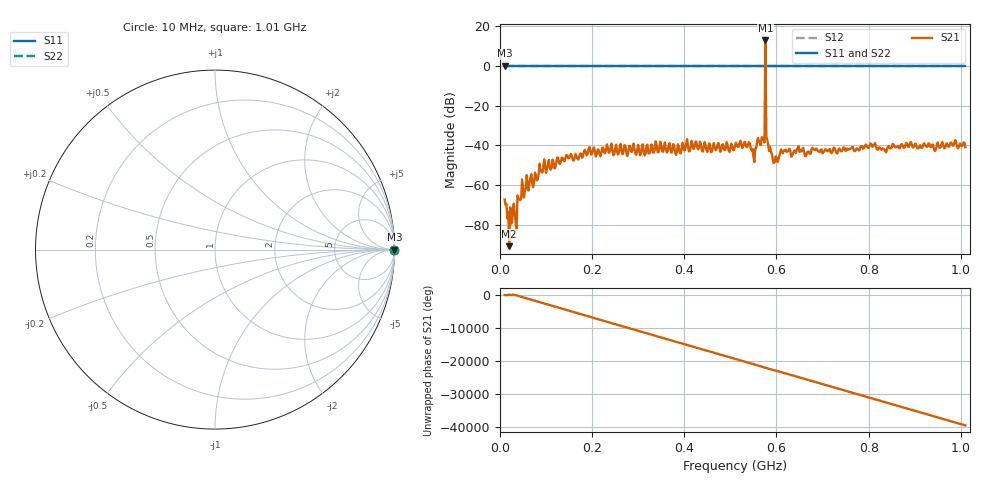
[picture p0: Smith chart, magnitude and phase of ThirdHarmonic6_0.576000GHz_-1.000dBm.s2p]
! 8/15/2025 6:34:07 PM
! C:\ANRITSUVNA\TEMP\TEMP.S2P
! CHANNEL.1
! TR.MEASUREMENT
! RAW.DATA
! RF.CORRECTION.OFF
! AVERAGING.OFF
! IF.BANDWIDTH: 5KHZ
! SWEEPTYPE:  FREQ.SWEEP(Linear)
! Reference Plane Port Info
! PORT:  PORT1  PORT2
! DISTANCE:  0  m  0  m
! TIME:  0  s  0  s
! PHASE.OFFSET:  0  deg.  0  deg.
! LOSS:  0  dB  0  dB
! REF.LOSS:  0  dB  0  dB
! REF.FREQ:  0  Hz  0  Hz
! Power Info
! POWER:  -20  dBm  -20  dBm
! EFF.POWER:  -20  dBm  -20  dBm
! SOURCE.ATTEN:  0  dB  0  dB
! TEST.ATTEN:  0  dB  0  dB
# GHZ S RI R 50.0
! FREQ.GHZ  S11RE  S11IM  S21RE  S21IM  S12RE  S12IM  S22RE  S22IM
!; PortSelection: Port_12
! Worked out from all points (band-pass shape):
!   501 points, 10 MHz to 1.01 GHz, reference 50 ohm
!   highest |S21| = 12.76 dB at 576 MHz (marker M1); lowest = -90.7 dB at 20 MHz (marker M2)
!   |S21| within 3 dB of the highest: 575.883 MHz to 576.1235 MHz (240.5 kHz wide, 0.0418 % of centre)
!   lowest |S11| = 0.0 dB at 10 MHz (marker M3)
!   |S11| at or under -10 dB: nowhere
!   |S22| runs from 0.0 to 0.0 dB; largest |S21 - S12| = 4.3
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0.01  1 0  0.000244 -0.00036  1 0  1 0
0.02  1 0  1.32e-05 2.6e-05  1 0  1 0
0.036  1 0  -5.37e-05 -5.11e-05  1 0  1 0
0.044  1 0  -0.000244 -0.000342  1 0  1 0
0.052  1 0  -7.29e-05 -0.000484  1 0  1 0
0.094  1 0  0.00274 0.000812  1 0  1 0
0.178  1 0  -0.00487 0.000216  1 0  1 0
0.344  1 0  0.00543 -0.00394  1 0  1 0
0.51  1 0  -0.00746 0.00562  1 0  1 0
0.54  1 0  0.012 -3.61e-05  1 0  1 0
0.55  1 0  0.00443 0.0026  1 0  1 0
0.558  1 0  0.0121 0.00233  1 0  1 0
0.57  1 0  -0.0121 -0.00949  1 0  1 0
0.572  1 0  -0.00903 0.0108  1 0  1 0
0.576  1 0  0.7533 -4.279  1 0  1 0
0.58  1 0  -0.0116 0.00762  1 0  1 0
0.582  1 0  0.00547 0.00881  1 0  1 0
0.596  1 0  -0.0013 -0.00354  1 0  1 0
0.614  1 0  1.67e-05 -0.00634  1 0  1 0
0.678  1 0  -0.00699 -0.00516  1 0  1 0
0.844  1 0  0.00838 0.00465  1 0  1 0
1.01  1 0  -0.00886 0.00115  1 0  1 0
